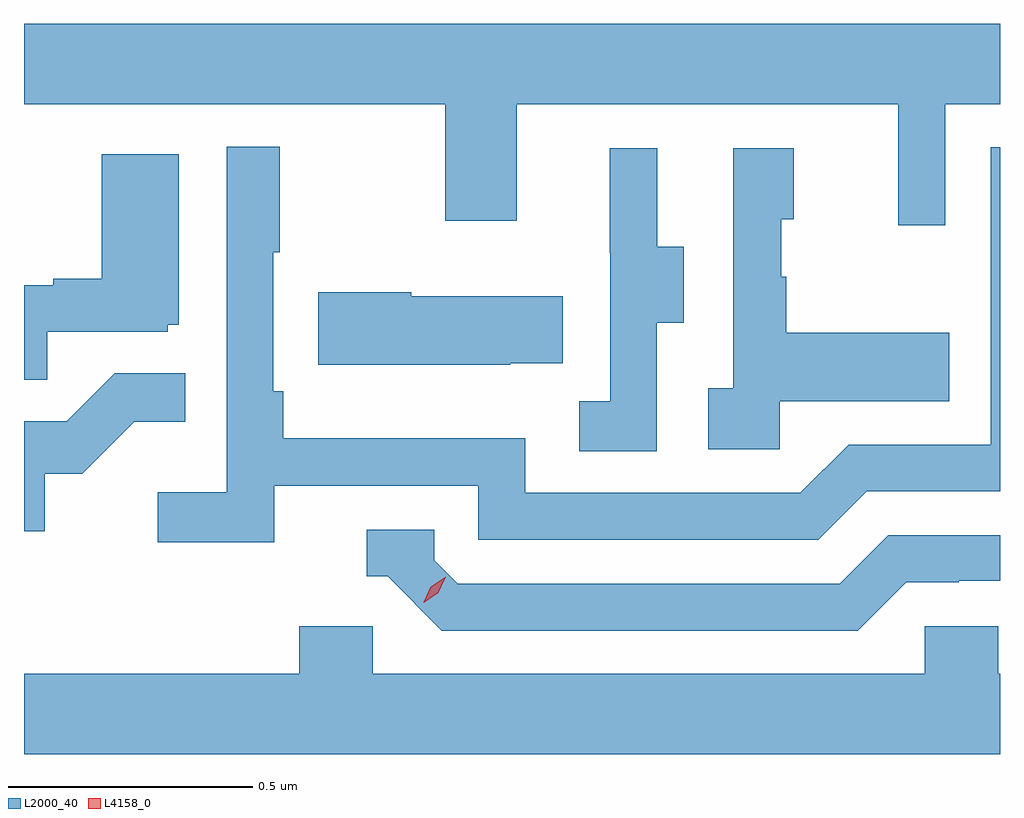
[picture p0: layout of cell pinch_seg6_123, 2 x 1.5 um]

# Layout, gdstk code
import gdstk
lib = gdstk.Library(unit=1e-6, precision=1e-09)
def P(c, l, *ps):  # polygons
    for p in ps: c.add(gdstk.Polygon(p, *l))
L2000_40 = (2000, 40)
L4158_0 = (4158, 0)

pinch_seg6_123 = lib.new_cell('pinch_seg6_123')
P(pinch_seg6_123, L2000_40, [(966.495,928.688),(966.607,928.688),(966.607,928.852),(964.607,928.852),(964.607,928.688),(965.47,928.688),(965.47,928.449),(965.617,928.449),(965.617,928.688),(966.398,928.688),(966.398,928.44),(966.495,928.44)],
  [(965.12,927.906),(965.538,927.906),(965.538,927.795),(966.235,927.795),(966.334,927.894),(966.607,927.894),(966.607,928.599),(966.588,928.599),(966.588,927.99),(966.297,927.99),(966.198,927.891),(965.634,927.891),(965.634,928.003),(965.138,928.003),(965.138,928.099),(965.118,928.099),(965.118,928.384),(965.131,928.384),(965.131,928.6),(965.022,928.6),(965.022,927.892),(964.881,927.892),(964.881,927.79),(965.12,927.79)],
  [(966.156,928.079),(966.503,928.079),(966.503,928.219),(966.169,928.219),(966.169,928.334),(966.159,928.334),(966.159,928.452),(966.184,928.452),(966.184,928.597),(966.06,928.597),(966.06,928.106),(966.009,928.106),(966.009,927.981),(966.156,927.981)],
  [(965.904,928.24),(965.959,928.24),(965.959,928.395),(965.905,928.395),(965.905,928.597),(965.807,928.597),(965.807,928.383),(965.808,928.383),(965.808,928.079),(965.745,928.079),(965.745,927.976),(965.904,927.976)],
  [(964.655,928.221),(964.902,928.221),(964.902,928.236),(964.924,928.236),(964.924,928.585),(964.766,928.585),(964.766,928.33),(964.667,928.33),(964.667,928.317),(964.607,928.317),(964.607,928.123),(964.655,928.123)],
  [(965.603,928.157),(965.711,928.157),(965.711,928.294),(965.401,928.294),(965.401,928.302),(965.21,928.302),(965.21,928.154),(965.603,928.154)],
  [(964.65,927.93),(964.726,927.93),(964.833,928.037),(964.937,928.037),(964.937,928.136),(964.793,928.136),(964.695,928.038),(964.607,928.038),(964.607,927.813),(964.65,927.813)],
  [(966.415,927.708),(966.522,927.708),(966.522,927.711),(966.607,927.711),(966.607,927.804),(966.378,927.804),(966.279,927.705),(965.496,927.705),(965.448,927.753),(965.448,927.816),(965.309,927.816),(965.309,927.72),(965.352,927.72),(965.463,927.609),(966.316,927.609)],
  [(966.607,927.52),(966.603,927.52),(966.603,927.618),(966.453,927.618),(966.453,927.52),(965.322,927.52),(965.322,927.618),(965.171,927.618),(965.171,927.52),(964.607,927.52),(964.607,927.356),(966.607,927.356)])
P(pinch_seg6_123, L4158_0, [(965.426,927.666),(965.426,927.667),(965.441,927.699),(965.471,927.719),(965.471,927.719),(965.471,927.719),(965.456,927.686),(965.426,927.666)])

lib.write_gds('pinch_seg6_123.gds')
